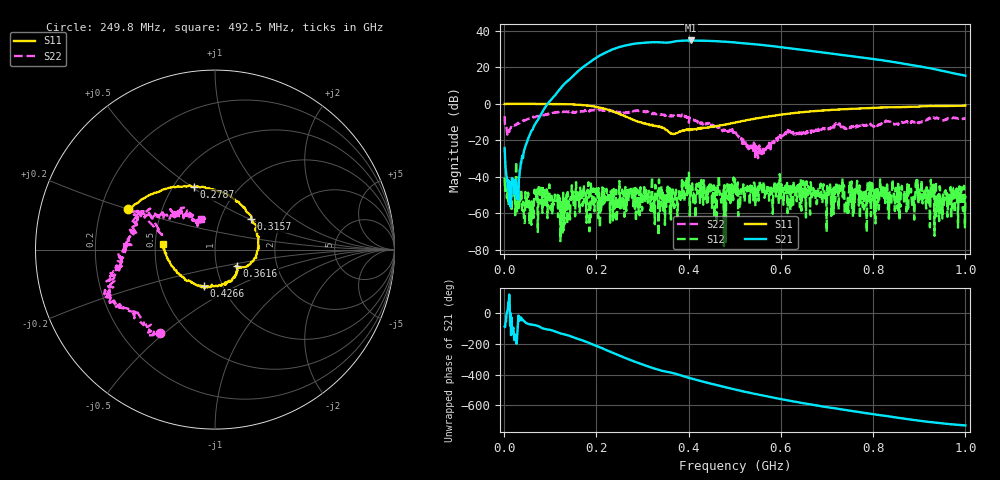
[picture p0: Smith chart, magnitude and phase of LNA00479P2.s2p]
! Created with skrf 1.9.0 (http://scikit-rf.org).
# Hz S RI R 50.0
!freq ReS11 ImS11 ReS21 ImS21 ReS12 ImS12 ReS22 ImS22
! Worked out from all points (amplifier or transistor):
!   1001 points, 1 MHz to 1 GHz, reference 50 ohm
!   highest |S21| = 34.8 dB at 404.6 MHz (marker M1)
!   |S21| within 3 dB of that: 258.9 MHz to 578.1 MHz (319.2 MHz wide, 76.3 % of centre)
!   unconditionally stable (mu >= 1): 237.8 MHz to 320.6 MHz; 395.6 MHz to 925 MHz; 925.1 MHz to end of sweep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
!   at 166.8 MHz: K = 1.15, MAG = 31.2 dB, |S12| = -47.9 dB
!   at 500.5 MHz: K = 1.25, MAG = 34.5 dB, |S12| = -41.2 dB
!   at 1 GHz: K = 4.13, MAG = 23.9 dB, |S12| = -50.4 dB
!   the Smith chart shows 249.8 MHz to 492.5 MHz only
!   S11 on the Smith chart (normalised r, x): 249.8 MHz: 0.31, +0.20; 278.7 MHz: 0.63, +0.51; 315.7 MHz: 1.39, +0.51; 361.6 MHz: 1.26, -0.24; 426.6 MHz: 0.82, -0.35; 492.5 MHz: 0.55, +0.04
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1000000  0.9965 0.0101  0.00358 -0.0617  -0.00962 0.000744  0.3424 0.3136
1.08892e8  0.5277 -0.8469  -0.7802 -1.463  0.00174 0.000751  0.4267 -0.3777
1.67833e8  -0.221 -0.9074  -9.495 -0.6882  0.00252 -0.00391  0.0294 -0.6317
2.12788e8  -0.6788 -0.3456  -15.03 17.52  0.00245 -0.00455  -0.2077 -0.6255
2.49751e8  -0.4861 0.228  4.237 36.14  -0.00222 0.00741  -0.3037 -0.4656
2.78722e8  -0.1178 0.3496  28.99 32.81  -0.00228 -0.00294  -0.5565 -0.3056
3.15685e8  0.1991 0.171  48.14 7.252  -0.00273 -0.00247  -0.5841 -0.1532
3.34666e8  0.2389 0.00708  48.37 -8.027  -5.59e-05 0.000237  -0.5246 -0.0522
3.61639e8  0.1235 -0.0913  43.65 -22.85  -0.000443 -0.000511  -0.474 0.1107
3.79621e8  0.125 -0.1194  39.33 -36.23  -0.00063 0.00464  -0.4528 0.1975
4.04596e8  0.0516 -0.1896  23.31 -49.8  -0.000367 0.00281  -0.3335 0.2006
4.26574e8  -0.0595 -0.2021  6.755 -53.91  0.00282 0.000157  -0.2521 0.1901
4.55545e8  -0.1945 -0.145  -14 -50.74  0.000701 -0.000383  -0.136 0.19
4.92508e8  -0.2901 0.0337  -33.01 -36.6  0.00242 -4.49e-05  -0.0791 0.1729
5.005e8  -0.2967 0.0813  -35.96 -32.74  0.00858 -0.00141  -0.0752 0.116
5.33467e8  -0.2671 0.2546  -41.62 -15.55  0.00223 -0.00528  -0.0199 0.0684
5.65435e8  -0.1676 0.4039  -40.54 0.1444  0.00276 -0.00175  -0.0645 -0.000233
6.11389e8  0.0385 0.5283  -30.75 15.39  0.00353 -0.000343  -0.1283 -0.0734
6.67333e8  0.3114 0.5434  -15.42 23.34  0.00132 -0.00276  -0.1692 -0.0635
7.53247e8  0.6269 0.3758  2.517 20.12  -0.00727 0.0019  -0.239 -0.0283
8.34166e8  0.7923 0.1394  10.06 10.81  -0.000503 -0.000506  -0.3338 -0.0259
1e9  0.8116 -0.3892  5.858 -1.217  -0.00302 0.000269  -0.3308 0.2314
